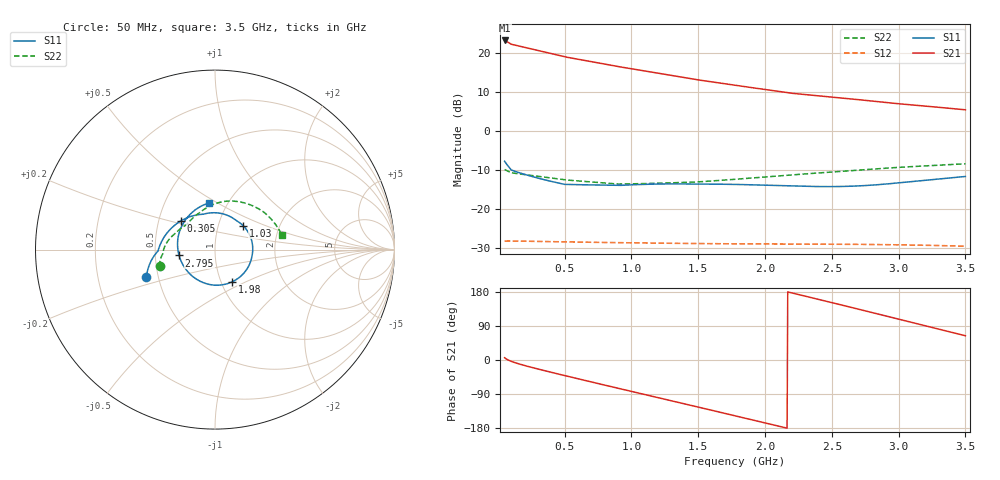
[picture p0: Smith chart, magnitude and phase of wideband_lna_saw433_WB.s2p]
! Wideband LNA + 433 MHz SAW (rev 3): path WB (tools/sparam_calc.py)
# HZ S RI R 50
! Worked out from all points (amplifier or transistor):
!   1292 points, 50 MHz to 3.5 GHz, reference 50 ohm
!   highest |S21| = 23.3 dB at 50 MHz (marker M1)
!   |S21| within 3 dB of that: start of sweep to 351.8 MHz
!   unconditionally stable (mu >= 1): 127.7 MHz to end of sweep
!   at 432.4 MHz: K = 1.35, MAG = 20.5 dB, |S12| = -28.4 dB
!   at 436.7 MHz: K = 1.36, MAG = 20.4 dB, |S12| = -28.4 dB
!   at 3.5 GHz: K = 6.26, MAG = 6.6 dB, |S12| = -29.5 dB
!   S11 on the Smith chart (normalised r, x): 50 MHz: 0.43, -0.16; 305 MHz: 0.65, +0.22; 1.03 GHz: 1.31, +0.37; 1.98 GHz: 1.12, -0.42; 2.795 GHz: 0.67, -0.04; 3.5 GHz: 0.82, +0.46
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5e7  -0.3822 -0.1515  14.52 1.521  0.0386 0.00405  -0.3086 -0.0941
1.05e8  -0.3155 -8.81e-05  12.96 -0.9686  0.0389 -0.0029  -0.2908 -0.0202
1.5e8  -0.2911 0.0571  12.3 -2.062  0.0383 -0.00643  -0.2845 0.00578
2.2e8  -0.2473 0.1151  11.21 -3.315  0.0371 -0.011  -0.2725 0.0325
3.05e8  -0.191 0.1594  9.844 -4.433  0.0351 -0.0158  -0.2567 0.0558
4.3e8  -0.1092 0.1916  7.858 -5.531  0.0312 -0.022  -0.2324 0.0811
4.3694e8  -0.1048 0.1925  7.75 -5.576  0.0309 -0.0223  -0.2311 0.0822
4.37e8  -0.1048 0.1925  7.749 -5.576  0.0309 -0.0223  -0.2311 0.0823
6.25e8  -0.00267 0.2054  5.1 -6.453  0.0234 -0.0296  -0.1996 0.1106
8.1e8  0.0815 0.1855  2.798 -6.635  0.0145 -0.0344  -0.1706 0.1315
1.03e9  0.157 0.1333  0.4963 -6.176  0.00295 -0.0368  -0.1432 0.1556
1.2e9  0.1948 0.0778  -0.9127 -5.459  -0.00603 -0.0361  -0.1238 0.1755
1.47e9  0.2082 -0.0246  -2.446 -3.94  -0.0191 -0.0307  -0.0876 0.2046
1.62e9  0.1931 -0.0802  -2.963 -3.04  -0.0251 -0.0258  -0.0648 0.2216
1.775e9  0.1605 -0.1313  -3.266 -2.108  -0.0301 -0.0194  -0.0378 0.2383
1.98e9  0.0941 -0.1802  -3.336 -0.9367  -0.0344 -0.00965  0.00424 0.2567
2.35e9  -0.0626 -0.1851  -2.791 0.7831  -0.0342 0.0096  0.0963 0.2703
2.58e9  -0.1504 -0.1246  -2.165 1.543  -0.0288 0.0205  0.16 0.2612
2.795e9  -0.2002 -0.0323  -1.43 1.983  -0.0206 0.0285  0.22 0.2394
2.925e9  -0.2087 0.0333  -0.9582 2.112  -0.0144 0.0318  0.2551 0.2199
3.195e9  -0.1643 0.1662  -0.0255 2.103  -0.000417 0.0344  0.3189 0.1634
3.5e9  -0.0325 0.2602  0.824 1.691  0.0147 0.0301  0.3728 0.0817
